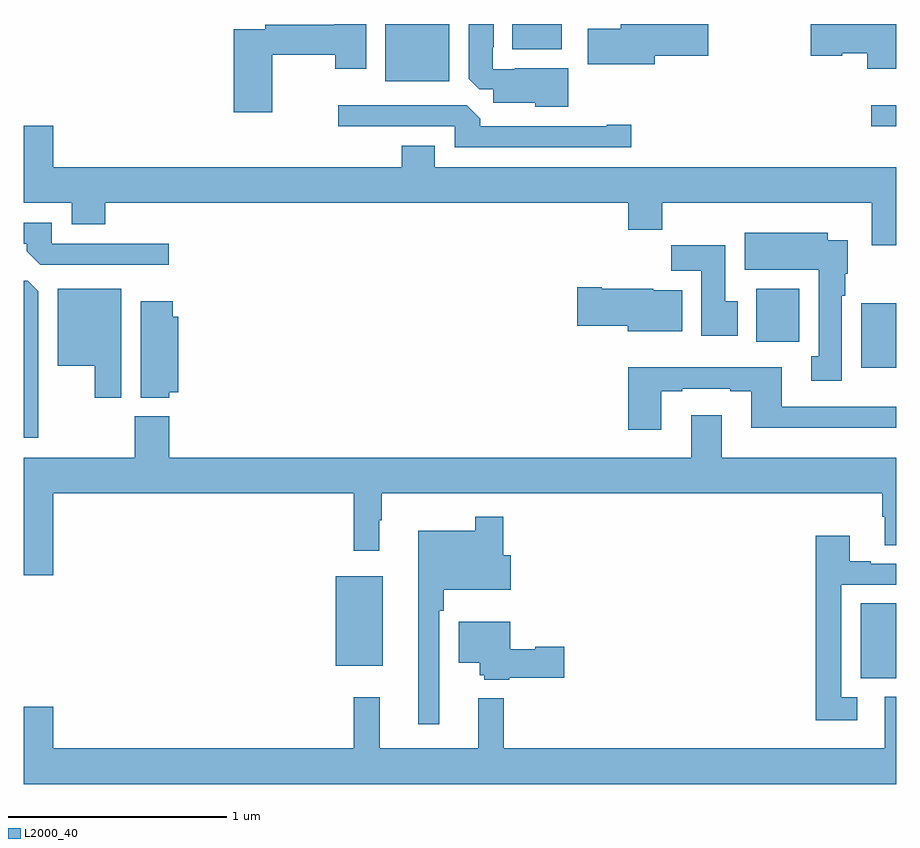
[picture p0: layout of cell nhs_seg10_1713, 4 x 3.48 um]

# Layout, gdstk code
import gdstk
lib = gdstk.Library(unit=1e-6, precision=1e-09)
def R(c, l, rs):  # rectangles x0, y0, x1, y1
    for r in rs: c.add(gdstk.rectangle(r[:2], r[2:], *l))
def P(c, l, *ps):  # polygons
    for p in ps: c.add(gdstk.Polygon(p, *l))
L2000_40 = (2000, 40)

nhs_seg10_1713 = lib.new_cell('nhs_seg10_1713')
R(nhs_seg10_1713, L2000_40, [(204.836,1267.501,205,1267.844), (202.43,1267.559,202.645,1267.969), (204.839,1268.924,205,1269.22), (204.359,1269.044,204.556,1269.286), (204.885,1270.032,205,1270.128), (202.658,1270.238,202.951,1270.5), (203.24,1270.385,203.467,1270.5)])
P(nhs_seg10_1713, L2000_40, [(202.14,1270.36),(202.429,1270.36),(202.429,1270.296),(202.57,1270.296),(202.57,1270.5),(202.424,1270.5),(202.424,1270.496),(202.108,1270.496),(202.108,1270.476),(201.962,1270.476),(201.962,1270.095),(202.14,1270.095)],
  [(203.893,1270.355),(204.139,1270.355),(204.139,1270.5),(203.738,1270.5),(203.738,1270.479),(203.586,1270.479),(203.586,1270.316),(203.893,1270.316)],
  [(203.497,1270.297),(203.251,1270.297),(203.251,1270.293),(203.151,1270.293),(203.151,1270.393),(203.155,1270.393),(203.155,1270.5),(203.039,1270.5),(203.039,1270.249),(203.088,1270.2),(203.153,1270.2),(203.153,1270.139),(203.346,1270.139),(203.346,1270.121),(203.497,1270.121)],
  [(205,1270.5),(204.609,1270.5),(204.609,1270.355),(204.752,1270.355),(204.752,1270.367),(204.866,1270.367),(204.866,1270.296),(205,1270.296)],
  [(203.785,1270.037),(203.672,1270.037),(203.672,1270.032),(203.093,1270.032),(203.093,1270.066),(203.031,1270.128),(202.443,1270.128),(202.443,1270.032),(202.977,1270.032),(202.977,1269.936),(203.785,1269.936)],
  [(201,1270.033),(201,1269.68),(201.221,1269.68),(201.221,1269.581),(201.374,1269.581),(201.374,1269.68),(203.771,1269.68),(203.771,1269.556),(203.927,1269.556),(203.927,1269.68),(204.887,1269.68),(204.887,1269.486),(205,1269.486),(205,1269.844),(202.885,1269.844),(202.885,1269.943),(202.733,1269.943),(202.733,1269.844),(201.136,1269.844),(201.136,1270.033)],
  [(201.664,1269.492),(201.129,1269.492),(201.129,1269.588),(201,1269.588),(201,1269.492),(201.014,1269.492),(201.014,1269.458),(201.075,1269.396),(201.664,1269.396)],
  [(204.751,1269.254),(204.766,1269.254),(204.766,1269.354),(204.778,1269.354),(204.778,1269.508),(204.685,1269.508),(204.685,1269.544),(204.305,1269.544),(204.305,1269.374),(204.644,1269.374),(204.644,1268.978),(204.611,1268.978),(204.611,1268.865),(204.751,1268.865)],
  [(204.274,1269.228),(204.217,1269.228),(204.217,1269.486),(203.968,1269.486),(203.968,1269.368),(204.107,1269.368),(204.107,1269.072),(204.274,1269.072)],
  [(201.067,1269.275),(201.018,1269.324),(201,1269.324),(201,1268.603),(201.067,1268.603)],
  [(204.019,1269.28),(203.886,1269.28),(203.886,1269.286),(203.65,1269.286),(203.65,1269.294),(203.538,1269.294),(203.538,1269.116),(203.768,1269.116),(203.768,1269.092),(204.019,1269.092)],
  [(201.448,1269.286),(201.155,1269.286),(201.155,1268.933),(201.326,1268.933),(201.326,1268.787),(201.448,1268.787)],
  [(201.666,1268.813),(201.709,1268.813),(201.709,1269.157),(201.683,1269.157),(201.683,1269.229),(201.536,1269.229),(201.536,1268.786),(201.666,1268.786)],
  [(203.923,1268.817),(204.019,1268.817),(204.019,1268.829),(204.239,1268.829),(204.239,1268.817),(204.335,1268.817),(204.335,1268.648),(205,1268.648),(205,1268.745),(204.475,1268.745),(204.475,1268.926),(203.771,1268.926),(203.771,1268.64),(203.923,1268.64)],
  [(201.136,1268.348),(202.513,1268.348),(202.513,1268.085),(202.63,1268.085),(202.63,1268.225),(202.642,1268.225),(202.642,1268.348),(204.935,1268.348),(204.935,1268.242),(204.947,1268.242),(204.947,1268.11),(205,1268.11),(205,1268.512),(204.199,1268.512),(204.199,1268.707),(204.059,1268.707),(204.059,1268.512),(201.668,1268.512),(201.668,1268.701),(201.508,1268.701),(201.508,1268.512),(201,1268.512),(201,1267.974),(201.136,1267.974)],
  [(202.905,1267.811),(202.925,1267.811),(202.925,1267.907),(203.233,1267.907),(203.233,1268.065),(203.198,1268.065),(203.198,1268.242),(203.07,1268.242),(203.07,1268.176),(202.808,1268.176),(202.808,1267.29),(202.905,1267.29)],
  [(204.82,1267.413),(204.747,1267.413),(204.747,1267.929),(205,1267.929),(205,1268.025),(204.883,1268.025),(204.883,1268.038),(204.787,1268.038),(204.787,1268.155),(204.631,1268.155),(204.631,1267.308),(204.82,1267.308)],
  [(203.226,1267.504),(203.479,1267.504),(203.479,1267.646),(203.346,1267.646),(203.346,1267.633),(203.23,1267.633),(203.23,1267.759),(202.994,1267.759),(202.994,1267.571),(203.09,1267.571),(203.09,1267.515),(203.112,1267.515),(203.112,1267.493),(203.226,1267.493)],
  [(205,1267.416),(204.947,1267.416),(204.947,1267.18),(203.201,1267.18),(203.201,1267.408),(203.084,1267.408),(203.084,1267.18),(202.631,1267.18),(202.631,1267.414),(202.513,1267.414),(202.513,1267.18),(201.136,1267.18),(201.136,1267.369),(201,1267.369),(201,1267.016),(205,1267.016)])

lib.write_gds('nhs_seg10_1713.gds')
